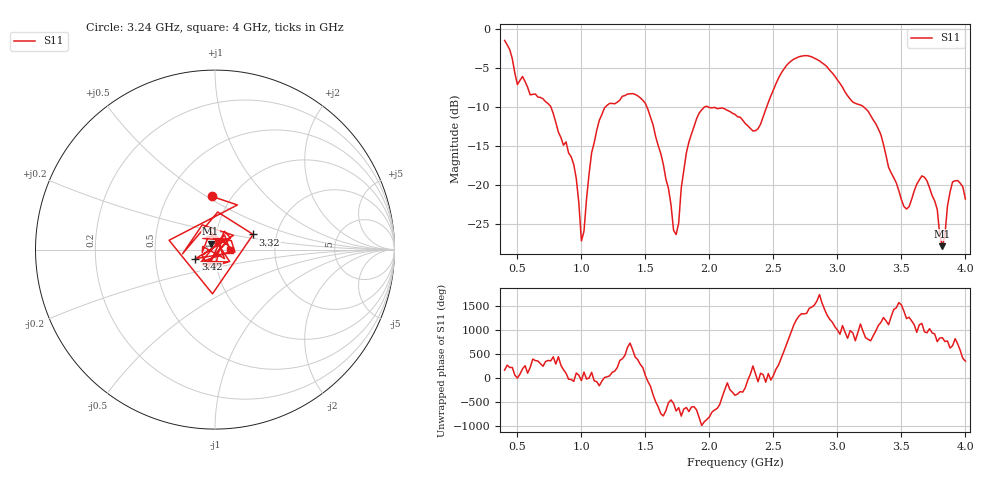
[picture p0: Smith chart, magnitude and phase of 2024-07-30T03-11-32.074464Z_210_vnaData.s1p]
!Created with skrf (http://scikit-rf.org).
# Hz S RI R 50.0
!freq ReS11 ImS11
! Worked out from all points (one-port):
!   181 points, 400 MHz to 4 GHz, reference 50 ohm
!   lowest |S11| = -27.8 dB at 3.82 GHz (marker M1), VSWR 1.09, Z = 47.5 + j3.11 ohm
!   |S11| at or under -10 dB: 1.511 GHz to 1.964 GHz (452.3 MHz wide, 26 % of centre); 1.991 GHz to 2.447 GHz (456.9 MHz wide, 20.6 % of centre); 3.205 GHz to end of sweep (the widest 3 of 4)
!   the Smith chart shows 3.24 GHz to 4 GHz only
!   S11 on the Smith chart (normalised r, x): 3.24 GHz: 0.81, +0.53; 3.32 GHz: 1.51, +0.27; 3.42 GHz: 0.80, -0.08; 4 GHz: 1.18, -0.00
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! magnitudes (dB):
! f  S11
! 400 MHz  -1.5
! 500 MHz  -7.1
! 760 MHz  -9.9
! 860 MHz  -14.9
! 940 MHz  -17.3
! 1 GHz  -27.1
! 1.08 GHz  -15.8
! 1.14 GHz  -11.7
! 1.3 GHz  -9.1
! 1.5 GHz  -9.6
! 1.64 GHz  -17.3
! 1.72 GHz  -25.7
! 1.76 GHz  -24.8
! 1.82 GHz  -15.9
! 1.92 GHz  -10.8
! 2.2 GHz  -11.0
! 2.38 GHz  -12.8
! 2.66 GHz  -3.9
! 3.1 GHz  -9.0
! 3.24 GHz  -10.6
! 3.32 GHz  -12.8
! 3.42 GHz  -18.4
! 3.56 GHz  -22.7
! 3.68 GHz  -19.0
! 3.78 GHz  -23.1
! 3.82 GHz  -27.8
! 3.9 GHz  -19.6
! 4 GHz  -21.8
